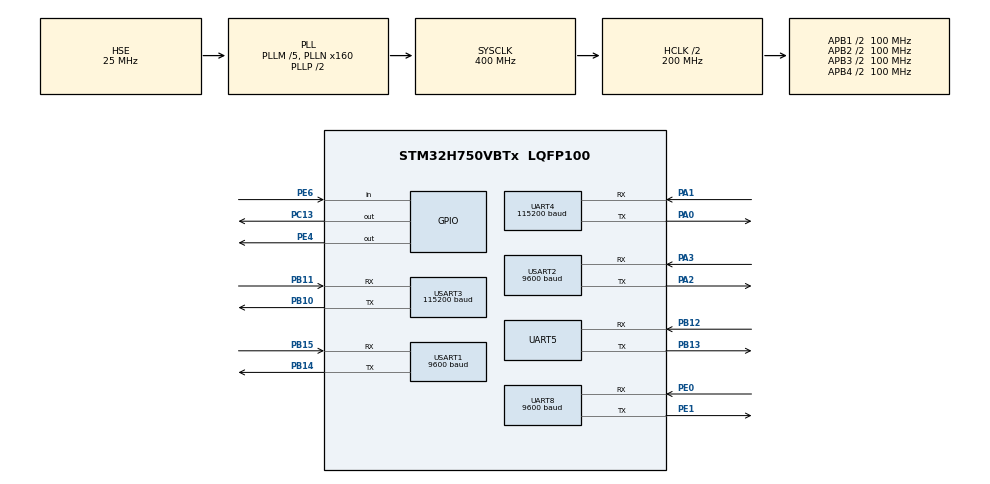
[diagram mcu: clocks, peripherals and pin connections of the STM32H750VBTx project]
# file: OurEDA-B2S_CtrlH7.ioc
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CORTEX_M7.CPU_ICache=Disabled
Dma.Request0=USART1_RX
Dma.Request1=USART1_TX
Dma.Request2=USART2_RX
Dma.Request3=UART4_RX
Dma.Request4=UART8_RX
Dma.Request5=UART8_TX
Dma.Request6=USART2_TX
Dma.Request7=USART3_RX
Dma.Request8=UART5_RX
Dma.Request9=UART5_TX
Dma.UART4_RX.3.Direction=DMA_PERIPH_TO_MEMORY
Dma.UART4_RX.3.EventEnable=DISABLE
Dma.UART4_RX.3.FIFOMode=DMA_FIFOMODE_DISABLE
Dma.UART4_RX.3.Instance=DMA1_Stream5
Dma.UART4_RX.3.MemDataAlignment=DMA_MDATAALIGN_BYTE
Dma.UART4_RX.3.MemInc=DMA_MINC_ENABLE
Dma.UART4_RX.3.Mode=DMA_NORMAL
Dma.UART4_RX.3.PeriphDataAlignment=DMA_PDATAALIGN_BYTE
Dma.UART4_RX.3.PeriphInc=DMA_PINC_DISABLE
Dma.UART4_RX.3.Polarity=HAL_DMAMUX_REQ_GEN_RISING
Dma.UART4_RX.3.Priority=DMA_PRIORITY_LOW
Dma.UART4_RX.3.RequestNumber=1
Dma.UART4_RX.3.SignalID=NONE
Dma.UART4_RX.3.SyncEnable=DISABLE
Dma.UART4_RX.3.SyncPolarity=HAL_DMAMUX_SYNC_NO_EVENT
Dma.UART4_RX.3.SyncRequestNumber=1
Dma.UART4_RX.3.SyncSignalID=NONE
Dma.UART5_RX.8.Direction=DMA_PERIPH_TO_MEMORY
Dma.UART5_RX.8.EventEnable=DISABLE
Dma.UART5_RX.8.FIFOMode=DMA_FIFOMODE_DISABLE
Dma.UART5_RX.8.Instance=DMA1_Stream4
Dma.UART5_RX.8.MemDataAlignment=DMA_MDATAALIGN_BYTE
Dma.UART5_RX.8.MemInc=DMA_MINC_ENABLE
Dma.UART5_RX.8.Mode=DMA_NORMAL
Dma.UART5_RX.8.PeriphDataAlignment=DMA_PDATAALIGN_BYTE
Dma.UART5_RX.8.PeriphInc=DMA_PINC_DISABLE
Dma.UART5_RX.8.Polarity=HAL_DMAMUX_REQ_GEN_RISING
Dma.UART5_RX.8.Priority=DMA_PRIORITY_LOW
Dma.UART5_RX.8.RequestNumber=1
Dma.UART5_RX.8.SignalID=NONE
Dma.UART5_RX.8.SyncEnable=DISABLE
Dma.UART5_RX.8.SyncPolarity=HAL_DMAMUX_SYNC_NO_EVENT
Dma.UART5_RX.8.SyncRequestNumber=1
Dma.UART5_RX.8.SyncSignalID=NONE
Dma.UART5_TX.9.Direction=DMA_MEMORY_TO_PERIPH
Dma.UART5_TX.9.EventEnable=DISABLE
Dma.UART5_TX.9.FIFOMode=DMA_FIFOMODE_DISABLE
Dma.UART5_TX.9.Instance=DMA2_Stream2
Dma.UART5_TX.9.MemDataAlignment=DMA_MDATAALIGN_BYTE
Dma.UART5_TX.9.MemInc=DMA_MINC_ENABLE
Dma.UART5_TX.9.Mode=DMA_NORMAL
Dma.UART5_TX.9.PeriphDataAlignment=DMA_PDATAALIGN_BYTE
Dma.UART5_TX.9.PeriphInc=DMA_PINC_DISABLE
Dma.UART5_TX.9.Polarity=HAL_DMAMUX_REQ_GEN_RISING
Dma.UART5_TX.9.Priority=DMA_PRIORITY_LOW
Dma.UART5_TX.9.RequestNumber=1
Dma.UART5_TX.9.SignalID=NONE
Dma.UART5_TX.9.SyncEnable=DISABLE
Dma.UART5_TX.9.SyncPolarity=HAL_DMAMUX_SYNC_NO_EVENT
Dma.UART5_TX.9.SyncRequestNumber=1
Dma.UART5_TX.9.SyncSignalID=NONE
Dma.UART8_RX.4.Direction=DMA_PERIPH_TO_MEMORY
Dma.UART8_RX.4.EventEnable=DISABLE
Dma.UART8_RX.4.FIFOMode=DMA_FIFOMODE_DISABLE
Dma.UART8_RX.4.Instance=DMA1_Stream7
Dma.UART8_RX.4.MemDataAlignment=DMA_MDATAALIGN_BYTE
Dma.UART8_RX.4.MemInc=DMA_MINC_ENABLE
Dma.UART8_RX.4.Mode=DMA_NORMAL
Dma.UART8_RX.4.PeriphDataAlignment=DMA_PDATAALIGN_BYTE
Dma.UART8_RX.4.PeriphInc=DMA_PINC_DISABLE
Dma.UART8_RX.4.Polarity=HAL_DMAMUX_REQ_GEN_RISING
Dma.UART8_RX.4.Priority=DMA_PRIORITY_LOW
Dma.UART8_RX.4.RequestNumber=1
Dma.UART8_RX.4.SignalID=NONE
Dma.UART8_RX.4.SyncEnable=DISABLE
Dma.UART8_RX.4.SyncPolarity=HAL_DMAMUX_SYNC_NO_EVENT
Dma.UART8_RX.4.SyncRequestNumber=1
Dma.UART8_RX.4.SyncSignalID=NONE
Dma.UART8_TX.5.Direction=DMA_MEMORY_TO_PERIPH
Dma.UART8_TX.5.EventEnable=DISABLE
Dma.UART8_TX.5.FIFOMode=DMA_FIFOMODE_DISABLE
Dma.UART8_TX.5.Instance=DMA2_Stream0
Dma.UART8_TX.5.MemDataAlignment=DMA_MDATAALIGN_BYTE
Dma.UART8_TX.5.MemInc=DMA_MINC_ENABLE
Dma.UART8_TX.5.Mode=DMA_NORMAL
Dma.UART8_TX.5.PeriphDataAlignment=DMA_PDATAALIGN_BYTE
Dma.UART8_TX.5.PeriphInc=DMA_PINC_DISABLE
Dma.UART8_TX.5.Polarity=HAL_DMAMUX_REQ_GEN_RISING
Dma.UART8_TX.5.Priority=DMA_PRIORITY_LOW
Dma.UART8_TX.5.RequestNumber=1
Dma.UART8_TX.5.SignalID=NONE
Dma.UART8_TX.5.SyncEnable=DISABLE
Dma.UART8_TX.5.SyncPolarity=HAL_DMAMUX_SYNC_NO_EVENT
Dma.UART8_TX.5.SyncRequestNumber=1
Dma.UART8_TX.5.SyncSignalID=NONE
Dma.USART1_RX.0.Direction=DMA_PERIPH_TO_MEMORY
Dma.USART1_RX.0.EventEnable=DISABLE
Dma.USART1_RX.0.FIFOMode=DMA_FIFOMODE_DISABLE
Dma.USART1_RX.0.Instance=DMA1_Stream0
Dma.USART1_RX.0.MemDataAlignment=DMA_MDATAALIGN_BYTE
Dma.USART1_RX.0.MemInc=DMA_MINC_ENABLE
Dma.USART1_RX.0.Mode=DMA_NORMAL
Dma.USART1_RX.0.PeriphDataAlignment=DMA_PDATAALIGN_BYTE
Dma.USART1_RX.0.PeriphInc=DMA_PINC_DISABLE
Dma.USART1_RX.0.Polarity=HAL_DMAMUX_REQ_GEN_RISING
Dma.USART1_RX.0.Priority=DMA_PRIORITY_LOW
Dma.USART1_RX.0.RequestNumber=1
Dma.USART1_RX.0.SignalID=NONE
Dma.USART1_RX.0.SyncEnable=DISABLE
Dma.USART1_RX.0.SyncPolarity=HAL_DMAMUX_SYNC_NO_EVENT
Dma.USART1_RX.0.SyncRequestNumber=1
Dma.USART1_RX.0.SyncSignalID=NONE
Dma.USART1_TX.1.Direction=DMA_MEMORY_TO_PERIPH
Dma.USART1_TX.1.EventEnable=DISABLE
Dma.USART1_TX.1.FIFOMode=DMA_FIFOMODE_DISABLE
Dma.USART1_TX.1.Instance=DMA1_Stream1
Dma.USART1_TX.1.MemDataAlignment=DMA_MDATAALIGN_BYTE
Dma.USART1_TX.1.MemInc=DMA_MINC_ENABLE
Dma.USART1_TX.1.Mode=DMA_NORMAL
Dma.USART1_TX.1.PeriphDataAlignment=DMA_PDATAALIGN_BYTE
Dma.USART1_TX.1.PeriphInc=DMA_PINC_DISABLE
Dma.USART1_TX.1.Polarity=HAL_DMAMUX_REQ_GEN_RISING
Dma.USART1_TX.1.Priority=DMA_PRIORITY_LOW
Dma.USART1_TX.1.RequestNumber=1
Dma.USART1_TX.1.SignalID=NONE
Dma.USART1_TX.1.SyncEnable=DISABLE
Dma.USART1_TX.1.SyncPolarity=HAL_DMAMUX_SYNC_NO_EVENT
Dma.USART1_TX.1.SyncRequestNumber=1
Dma.USART1_TX.1.SyncSignalID=NONE
Dma.USART2_RX.2.Direction=DMA_PERIPH_TO_MEMORY
Dma.USART2_RX.2.EventEnable=DISABLE
Dma.USART2_RX.2.FIFOMode=DMA_FIFOMODE_DISABLE
Dma.USART2_RX.2.Instance=DMA1_Stream2
Dma.USART2_RX.2.MemDataAlignment=DMA_MDATAALIGN_BYTE
Dma.USART2_RX.2.MemInc=DMA_MINC_ENABLE
Dma.USART2_RX.2.Mode=DMA_NORMAL
Dma.USART2_RX.2.PeriphDataAlignment=DMA_PDATAALIGN_BYTE
Dma.USART2_RX.2.PeriphInc=DMA_PINC_DISABLE
Dma.USART2_RX.2.Polarity=HAL_DMAMUX_REQ_GEN_RISING
Dma.USART2_RX.2.Priority=DMA_PRIORITY_LOW
Dma.USART2_RX.2.RequestNumber=1
Dma.USART2_RX.2.SignalID=NONE
Dma.USART2_RX.2.SyncEnable=DISABLE
Dma.USART2_RX.2.SyncPolarity=HAL_DMAMUX_SYNC_NO_EVENT
Dma.USART2_RX.2.SyncRequestNumber=1
Dma.USART2_RX.2.SyncSignalID=NONE
Dma.USART2_TX.6.Direction=DMA_MEMORY_TO_PERIPH
Dma.USART2_TX.6.EventEnable=DISABLE
Dma.USART2_TX.6.FIFOMode=DMA_FIFOMODE_DISABLE
Dma.USART2_TX.6.Instance=DMA2_Stream1
Dma.USART2_TX.6.MemDataAlignment=DMA_MDATAALIGN_BYTE
Dma.USART2_TX.6.MemInc=DMA_MINC_ENABLE
Dma.USART2_TX.6.Mode=DMA_NORMAL
Dma.USART2_TX.6.PeriphDataAlignment=DMA_PDATAALIGN_BYTE
Dma.USART2_TX.6.PeriphInc=DMA_PINC_DISABLE
Dma.USART2_TX.6.Polarity=HAL_DMAMUX_REQ_GEN_RISING
Dma.USART2_TX.6.Priority=DMA_PRIORITY_LOW
Dma.USART2_TX.6.RequestNumber=1
Dma.USART2_TX.6.SignalID=NONE
Dma.USART2_TX.6.SyncEnable=DISABLE
Dma.USART2_TX.6.SyncPolarity=HAL_DMAMUX_SYNC_NO_EVENT
Dma.USART2_TX.6.SyncRequestNumber=1
Dma.USART2_TX.6.SyncSignalID=NONE
Dma.USART3_RX.7.Direction=DMA_PERIPH_TO_MEMORY
Dma.USART3_RX.7.EventEnable=DISABLE
Dma.USART3_RX.7.FIFOMode=DMA_FIFOMODE_DISABLE
Dma.USART3_RX.7.Instance=DMA1_Stream3
Dma.USART3_RX.7.MemDataAlignment=DMA_MDATAALIGN_BYTE
Dma.USART3_RX.7.MemInc=DMA_MINC_ENABLE
Dma.USART3_RX.7.Mode=DMA_NORMAL
Dma.USART3_RX.7.PeriphDataAlignment=DMA_PDATAALIGN_BYTE
Dma.USART3_RX.7.PeriphInc=DMA_PINC_DISABLE
Dma.USART3_RX.7.Polarity=HAL_DMAMUX_REQ_GEN_RISING
Dma.USART3_RX.7.Priority=DMA_PRIORITY_LOW
Dma.USART3_RX.7.RequestNumber=1
Dma.USART3_RX.7.SignalID=NONE
Dma.USART3_RX.7.SyncEnable=DISABLE
Dma.USART3_RX.7.SyncPolarity=HAL_DMAMUX_SYNC_NO_EVENT
Dma.USART3_RX.7.SyncRequestNumber=1
Dma.USART3_RX.7.SyncSignalID=NONE
FREERTOS.BinarySemaphores01=WT931_DONE_sem,Static,WT931_DONE_semControlBlock;GY39_DONE_sem,Static,GY39_DONE_semControlBlock;WD_DONE_sem,Static,WD_DONE_semControlBlock;P30_DONE_sem,Static,P30_DONE_semControlBlock;CMD_DONE_sem,Static,CMD_DONE_semControlBlock;RPT_DONE_sem,Static,RPT_DONE_semControlBlock
FREERTOS.Queues01=GY39_Queue,2,CarbinData_t,0,Static,GY39_QueueBuffer,GY39_QueueControlBlock;WT931_Queue,2,IMUData_t,0,Static,WT931_QueueBuffer,WT931_QueueControlBlock;WD_Queue,2,DeepData_t,0,Static,WD_QueueBuffer,WD_QueueControlBlock;P30_Queue,2,SonarData_t,0,Static,P30_QueueBuffer,P30_QueueControlBlock
FREERTOS.Tasks01=Thread_Idle,-2,512,Thread_IdleEntry,Default,NULL,Static,Thread_IdleBuffer,Thread_IdleControlBlock;Thread_GY39,-1,512,Thread_GY39Entry,Default,NULL,Static,Thread_GY39Buffer,Thread_GY39ControlBlock;Thread_WT931,-1,512,Thread_WT931Entry,Default,NULL,Static,Thread_WT931Buffer,Thread_WT931ControlBlock;Thread_WD,-1,512,Thread_WDEntry,Default,NULL,Static,Thread_WDBuffer,Thread_WDControlBlock;Thread_P30,-1,512,Thread_P30Entry,Default,NULL,Static,Thread_P30Buffer,Thread_P30ControlBlock;Thread_Control,0,512,Thread_ControlEntry,Default,NULL,Static,Thread_ControlBuffer,Thread_ControlControlBlock;Thread_Report,0,512,Thread_ReportEntry,Default,NULL,Static,Thread_ReportBuffer,Thread_ReportControlBlock
FREERTOS.configENABLE_FPU=1
Mcu.Family=STM32H7
Mcu.Name=STM32H750VBTx
Mcu.Package=LQFP100
NVIC.DMA1_Stream0_IRQn=true\:5\:0\:false\:false\:true\:true\:false\:true
NVIC.DMA1_Stream1_IRQn=true\:5\:0\:false\:false\:true\:true\:false\:true
NVIC.DMA1_Stream2_IRQn=true\:5\:0\:false\:false\:true\:true\:false\:true
NVIC.DMA1_Stream3_IRQn=true\:5\:0\:false\:false\:true\:true\:false\:true
NVIC.DMA1_Stream4_IRQn=true\:5\:0\:false\:false\:true\:true\:false\:true
NVIC.DMA1_Stream5_IRQn=true\:5\:0\:false\:false\:true\:true\:false\:true
NVIC.DMA1_Stream7_IRQn=true\:5\:0\:false\:false\:true\:true\:false\:true
NVIC.DMA2_Stream0_IRQn=true\:5\:0\:false\:false\:true\:true\:false\:true
NVIC.DMA2_Stream1_IRQn=true\:5\:0\:false\:false\:true\:true\:false\:true
NVIC.DMA2_Stream2_IRQn=true\:5\:0\:false\:false\:true\:true\:false\:true
NVIC.PriorityGroup=NVIC_PRIORITYGROUP_4
NVIC.TIM6_DAC_IRQn=true\:0\:0\:false\:false\:true\:false\:false\:true
NVIC.TimeBase=TIM6_DAC_IRQn
NVIC.TimeBaseIP=TIM6
NVIC.UART4_IRQn=true\:5\:0\:false\:false\:true\:true\:true\:true
NVIC.UART5_IRQn=true\:5\:0\:false\:false\:true\:true\:true\:true
NVIC.UART8_IRQn=true\:5\:0\:false\:false\:true\:true\:true\:true
NVIC.USART1_IRQn=true\:5\:0\:false\:false\:true\:true\:true\:true
NVIC.USART2_IRQn=true\:5\:0\:false\:false\:true\:true\:true\:true
NVIC.USART3_IRQn=true\:5\:0\:false\:false\:true\:true\:true\:true
PA0.Mode=Asynchronous
PA0.Signal=UART4_TX
PA1.Mode=Asynchronous
PA1.Signal=UART4_RX
PA13\ (JTMS/SWDIO).Mode=Serial_Wire
PA13\ (JTMS/SWDIO).Signal=DEBUG_JTMS-SWDIO
PA14\ (JTCK/SWCLK).Mode=Serial_Wire
PA14\ (JTCK/SWCLK).Signal=DEBUG_JTCK-SWCLK
PA2.Mode=Asynchronous
PA2.Signal=USART2_TX
PA3.Mode=Asynchronous
PA3.Signal=USART2_RX
PA8.GPIO_Speed=GPIO_SPEED_FREQ_HIGH
PA8.Signal=S_TIM1_CH1
PB10.Mode=Asynchronous
PB10.Signal=USART3_TX
PB11.Mode=Asynchronous
PB11.Signal=USART3_RX
PB12.Mode=Asynchronous
PB12.Signal=UART5_RX
PB13.Mode=Asynchronous
PB13.Signal=UART5_TX
PB14.Mode=Asynchronous
PB14.Signal=USART1_TX
PB15.Mode=Asynchronous
PB15.Signal=USART1_RX
PC13.GPIO_ModeDefaultOutputPP=GPIO_MODE_OUTPUT_PP
PC13.GPIO_PuPd=GPIO_PULLUP
PC13.GPIO_Speed=GPIO_SPEED_FREQ_LOW
PC13.PinState=GPIO_PIN_RESET
PC13.Signal=GPIO_Output
PC14-OSC32_IN\ (OSC32_IN).Mode=LSE-External-Oscillator
PC14-OSC32_IN\ (OSC32_IN).Signal=RCC_OSC32_IN
PC15-OSC32_OUT\ (OSC32_OUT).Mode=LSE-External-Oscillator
PC15-OSC32_OUT\ (OSC32_OUT).Signal=RCC_OSC32_OUT
PE0.Mode=Asynchronous
PE0.Signal=UART8_RX
PE1.Mode=Asynchronous
PE1.Signal=UART8_TX
PE4.Signal=GPIO_Output
PE6.Signal=GPIO_Input
PH0-OSC_IN\ (PH0).Mode=HSE-External-Oscillator
PH0-OSC_IN\ (PH0).Signal=RCC_OSC_IN
PH1-OSC_OUT\ (PH1).Mode=HSE-External-Oscillator
PH1-OSC_OUT\ (PH1).Signal=RCC_OSC_OUT
ProjectManager.HeapSize=0x200
ProjectManager.StackSize=0x400
ProjectManager.TargetToolchain=STM32CubeIDE
RCC.ADCFreq_Value=50390625
RCC.APB1Freq_Value=100000000
RCC.APB2Freq_Value=100000000
RCC.APB3Freq_Value=100000000
RCC.APB4Freq_Value=100000000
RCC.CortexFreq_Value=400000000
RCC.D1PPRE=RCC_APB3_DIV2
RCC.D2PPRE1=RCC_APB1_DIV2
RCC.D2PPRE2=RCC_APB2_DIV2
RCC.D3PPRE=RCC_APB4_DIV2
RCC.DIVM1=5
RCC.DIVM3=25
RCC.DIVN1=160
RCC.DIVN3=192
RCC.HCLKFreq_Value=200000000
RCC.HPRE=RCC_HCLK_DIV2
RCC.PLL2FRACN=0
RCC.PLL3FRACN=0
RCC.PLLFRACN=0
RCC.PLLSourceVirtual=RCC_PLLSOURCE_HSE
RCC.SYSCLKFreq_VALUE=400000000
RCC.SYSCLKSource=RCC_SYSCLKSOURCE_PLLCLK
RCC.USART16CLockSelection=RCC_USART16CLKSOURCE_PLL3
RCC.USART234578CLockSelection=RCC_USART234578CLKSOURCE_PLL3
RCC.USBFreq_Value=400000000
SH.S_TIM1_CH1.0=TIM1_CH1
UART4.BaudRate=115200
UART8.BaudRate=9600
USART1.BaudRate=9600
USART1.VirtualMode-Asynchronous=VM_ASYNC
USART2.BaudRate=9600
USART2.VirtualMode-Asynchronous=VM_ASYNC
USART3.BaudRate=115200
USART3.VirtualMode-Asynchronous=VM_ASYNC
VP_FREERTOS_VS_CMSIS_V1.Mode=CMSIS_V1
VP_SYS_VS_tim6.Mode=TIM6
board=custom

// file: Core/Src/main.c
/* USER CODE BEGIN Header */
/**
  ******************************************************************************
  * @file           : main.c
  * @brief          : Main program body
  ******************************************************************************
  * @attention
  *
  * Copyright (c) 2022 STMicroelectronics.
  * All rights reserved.
  *
  * This software is licensed under terms that can be found in the LICENSE file
  * in the root directory of this software component.
  * If no LICENSE file comes with this software, it is provided AS-IS.
  *
  ******************************************************************************
  */
/* USER CODE END Header */
#include "main.h"
#include "cmsis_os.h"
#include "dma.h"
#include "usart.h"
#include "gpio.h"

void SystemClock_Config(void);
void PeriphCommonClock_Config(void);
void MX_FREERTOS_Init(void);

int main(void)
{

  /* MCU Configuration--------------------------------------------------------*/

  /* Reset of all peripherals, Initializes the Flash interface and the Systick. */
  HAL_Init();

  /* Configure the system clock */
  SystemClock_Config();

/* Configure the peripherals common clocks */
  PeriphCommonClock_Config();

  /* Initialize all configured peripherals */
  MX_GPIO_Init();
  MX_DMA_Init();
  MX_USART1_UART_Init();
  MX_USART2_UART_Init();
  MX_USART3_UART_Init();
  MX_UART4_Init();
  MX_UART8_Init();
  MX_UART5_Init();
  /* USER CODE BEGIN 2 */

  HAL_GPIO_WritePin(LED_GPIO_Port, LED_Pin, GPIO_PIN_RESET);

  /* USER CODE END 2 */

  /* Call init function for freertos objects (in freertos.c) */
  MX_FREERTOS_Init();
  /* Start scheduler */
  osKernelStart();

  /* We should never get here as control is now taken by the scheduler */
  /* Infinite loop */
  while (1)
  {

  }
}

void SystemClock_Config(void)
{
  RCC_OscInitTypeDef RCC_OscInitStruct = {0};
  RCC_ClkInitTypeDef RCC_ClkInitStruct = {0};

  /** Supply configuration update enable
  */
  HAL_PWREx_ConfigSupply(PWR_LDO_SUPPLY);
  /** Configure the main internal regulator output voltage
  */
  __HAL_PWR_VOLTAGESCALING_CONFIG(PWR_REGULATOR_VOLTAGE_SCALE1);

  while(!__HAL_PWR_GET_FLAG(PWR_FLAG_VOSRDY)) {}
  /** Macro to configure the PLL clock source
  */
  __HAL_RCC_PLL_PLLSOURCE_CONFIG(RCC_PLLSOURCE_HSE);
  /** Initializes the RCC Oscillators according to the specified parameters
  * in the RCC_OscInitTypeDef structure.
  */
  RCC_OscInitStruct.OscillatorType = RCC_OSCILLATORTYPE_HSE;
  RCC_OscInitStruct.HSEState = RCC_HSE_ON;
  RCC_OscInitStruct.PLL.PLLState = RCC_PLL_ON;
  RCC_OscInitStruct.PLL.PLLSource = RCC_PLLSOURCE_HSE;
  RCC_OscInitStruct.PLL.PLLM = 5;
  RCC_OscInitStruct.PLL.PLLN = 160;
  RCC_OscInitStruct.PLL.PLLP = 2;
  RCC_OscInitStruct.PLL.PLLQ = 2;
  RCC_OscInitStruct.PLL.PLLR = 2;
  RCC_OscInitStruct.PLL.PLLRGE = RCC_PLL1VCIRANGE_2;
  RCC_OscInitStruct.PLL.PLLVCOSEL = RCC_PLL1VCOWIDE;
  RCC_OscInitStruct.PLL.PLLFRACN = 0;
  if (HAL_RCC_OscConfig(&RCC_OscInitStruct) != HAL_OK)
  {
    Error_Handler();
  }
  /** Initializes the CPU, AHB and APB buses clocks
  */
  RCC_ClkInitStruct.ClockType = RCC_CLOCKTYPE_HCLK|RCC_CLOCKTYPE_SYSCLK
                              |RCC_CLOCKTYPE_PCLK1|RCC_CLOCKTYPE_PCLK2
                              |RCC_CLOCKTYPE_D3PCLK1|RCC_CLOCKTYPE_D1PCLK1;
  RCC_ClkInitStruct.SYSCLKSource = RCC_SYSCLKSOURCE_PLLCLK;
  RCC_ClkInitStruct.SYSCLKDivider = RCC_SYSCLK_DIV1;
  RCC_ClkInitStruct.AHBCLKDivider = RCC_HCLK_DIV2;
  RCC_ClkInitStruct.APB3CLKDivider = RCC_APB3_DIV2;
  RCC_ClkInitStruct.APB1CLKDivider = RCC_APB1_DIV2;
  RCC_ClkInitStruct.APB2CLKDivider = RCC_APB2_DIV2;
  RCC_ClkInitStruct.APB4CLKDivider = RCC_APB4_DIV2;

  if (HAL_RCC_ClockConfig(&RCC_ClkInitStruct, FLASH_LATENCY_2) != HAL_OK)
  {
    Error_Handler();
  }
}

void PeriphCommonClock_Config(void)
{
  RCC_PeriphCLKInitTypeDef PeriphClkInitStruct = {0};

  /** Initializes the peripherals clock
  */
  PeriphClkInitStruct.PeriphClockSelection = RCC_PERIPHCLK_UART5|RCC_PERIPHCLK_UART8
                              |RCC_PERIPHCLK_USART1|RCC_PERIPHCLK_UART4
                              |RCC_PERIPHCLK_USART2|RCC_PERIPHCLK_USART3;
  PeriphClkInitStruct.PLL3.PLL3M = 25;
  PeriphClkInitStruct.PLL3.PLL3N = 192;
  PeriphClkInitStruct.PLL3.PLL3P = 2;
  PeriphClkInitStruct.PLL3.PLL3Q = 2;
  PeriphClkInitStruct.PLL3.PLL3R = 2;
  PeriphClkInitStruct.PLL3.PLL3RGE = RCC_PLL3VCIRANGE_0;
  PeriphClkInitStruct.PLL3.PLL3VCOSEL = RCC_PLL3VCOWIDE;
  PeriphClkInitStruct.PLL3.PLL3FRACN = 0;
  PeriphClkInitStruct.Usart234578ClockSelection = RCC_USART234578CLKSOURCE_PLL3;
  PeriphClkInitStruct.Usart16ClockSelection = RCC_USART16CLKSOURCE_PLL3;
  if (HAL_RCCEx_PeriphCLKConfig(&PeriphClkInitStruct) != HAL_OK)
  {
    Error_Handler();
  }
}

void HAL_TIM_PeriodElapsedCallback(TIM_HandleTypeDef *htim)
{
  if (htim->Instance == TIM6) {
    HAL_IncTick();
  }
}

void Error_Handler(void)
{
  __disable_irq();
  while (1)
  {
  }
}

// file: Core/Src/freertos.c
/* USER CODE BEGIN Header */
/**
 ******************************************************************************
 * File Name          : freertos.c
 * Description        : Code for freertos applications
 ******************************************************************************
 * @attention
 *
 * Copyright (c) 2022 STMicroelectronics.
 * All rights reserved.
 *
 * This software is licensed under terms that can be found in the LICENSE file
 * in the root directory of this software component.
 * If no LICENSE file comes with this software, it is provided AS-IS.
 *
 ******************************************************************************
 */
/* USER CODE END Header */

#include "FreeRTOS.h"
#include "task.h"
#include "main.h"
#include "cmsis_os.h"

/* USER CODE BEGIN Includes */
#include "BasicCtrl.h"
#include "Sensor.h"
#include "Algorithm.h"

#include "usart.h"
#include "gpio.h"
#include "dma.h"

#include <stdio.h>
#include <stdlib.h>
#include <string.h>
#include <math.h>

/* USER CODE END Includes */

/* USER CODE BEGIN Variables */

osThreadId Thread_CatchRptHandle;
uint32_t Thread_CatchRptBuffer[512];
osStaticThreadDef_t Thread_CatchRptControlBlock;

osThreadId Thread_CatchCmdHandle;
uint32_t Thread_CatchCmdBuffer[512];
osStaticThreadDef_t Thread_CatchCmdControlBlock;

osMessageQId Rpt_QueueHandle;
uint8_t Rpt_QueueBuffer[2 * sizeof(ReportData_t)];
osStaticMessageQDef_t Rpt_QueueControlBlock;

osMessageQId Cmd_QueueHandle;
uint8_t Cmd_QueueBuffer[2 * sizeof(ControlData_t)];
osStaticMessageQDef_t Cmd_QueueControlBlock;

/* USER CODE END Variables */
osThreadId Thread_IdleHandle;
uint32_t Thread_IdleBuffer[512];
osStaticThreadDef_t Thread_IdleControlBlock;
osThreadId Thread_GY39Handle;
uint32_t Thread_GY39Buffer[512];
osStaticThreadDef_t Thread_GY39ControlBlock;
osThreadId Thread_WT931Handle;
uint32_t Thread_WT931Buffer[512];
osStaticThreadDef_t Thread_WT931ControlBlock;
osThreadId Thread_WDHandle;
uint32_t Thread_WDBuffer[512];
osStaticThreadDef_t Thread_WDControlBlock;
osThreadId Thread_P30Handle;
uint32_t Thread_P30Buffer[512];
osStaticThreadDef_t Thread_P30ControlBlock;
osThreadId Thread_ControlHandle;
uint32_t Thread_ControlBuffer[512];
osStaticThreadDef_t Thread_ControlControlBlock;
osThreadId Thread_ReportHandle;
uint32_t Thread_ReportBuffer[512];
osStaticThreadDef_t Thread_ReportControlBlock;
osMessageQId GY39_QueueHandle;
uint8_t GY39_QueueBuffer[2 * sizeof(CarbinData_t)];
osStaticMessageQDef_t GY39_QueueControlBlock;
osMessageQId WT931_QueueHandle;
uint8_t WT931_QueueBuffer[2 * sizeof(IMUData_t)];
osStaticMessageQDef_t WT931_QueueControlBlock;
osMessageQId WD_QueueHandle;
uint8_t WD_QueueBuffer[2 * sizeof(DepthData_t)];
osStaticMessageQDef_t WD_QueueControlBlock;
osMessageQId P30_QueueHandle;
uint8_t P30_QueueBuffer[2 * sizeof(SonarData_t)];
osStaticMessageQDef_t P30_QueueControlBlock;
osSemaphoreId WT931_DONE_semHandle;
osStaticSemaphoreDef_t WT931_DONE_semControlBlock;
osSemaphoreId GY39_DONE_semHandle;
osStaticSemaphoreDef_t GY39_DONE_semControlBlock;
osSemaphoreId WD_DONE_semHandle;
osStaticSemaphoreDef_t WD_DONE_semControlBlock;
osSemaphoreId P30_DONE_semHandle;
osStaticSemaphoreDef_t P30_DONE_semControlBlock;
osSemaphoreId CMD_DONE_semHandle;
osStaticSemaphoreDef_t CMD_DONE_semControlBlock;
osSemaphoreId RPT_DONE_semHandle;
osStaticSemaphoreDef_t RPT_DONE_semControlBlock;

/* USER CODE BEGIN FunctionPrototypes */

void Thread_CatchRptEntry(void const *argument);
void Thread_CatchCmdEntry(void const *argument);

static void OpenWrt_Delay(void)
{
	for (int i = 0; i < 60; i++)
	{
		HAL_GPIO_TogglePin(LED_GPIO_Port, LED_Pin);
		for (int j = 0; j < 1000; j++)
		{
			osDelay(1);
		}
	}
	HAL_GPIO_WritePin(LED_GPIO_Port, LED_Pin, GPIO_PIN_SET);
}

/* USER CODE END FunctionPrototypes */

void Thread_IdleEntry(void const *argument);
void Thread_GY39Entry(void const *argument);
void Thread_WT931Entry(void const *argument);
void Thread_WDEntry(void const *argument);
void Thread_P30Entry(void const *argument);
void Thread_ControlEntry(void const *argument);
void Thread_ReportEntry(void const *argument);

void MX_FREERTOS_Init(void); /* (MISRA C 2004 rule 8.1) */

/* GetIdleTaskMemory prototype (linked to static allocation support) */
void vApplicationGetIdleTaskMemory(StaticTask_t **ppxIdleTaskTCBBuffer,
		StackType_t **ppxIdleTaskStackBuffer, uint32_t *pulIdleTaskStackSize);

/* USER CODE BEGIN GET_IDLE_TASK_MEMORY */
static StaticTask_t xIdleTaskTCBBuffer;
static StackType_t xIdleStack[configMINIMAL_STACK_SIZE];

void vApplicationGetIdleTaskMemory(StaticTask_t **ppxIdleTaskTCBBuffer,
		StackType_t **ppxIdleTaskStackBuffer, uint32_t *pulIdleTaskStackSize)
{
	*ppxIdleTaskTCBBuffer = &xIdleTaskTCBBuffer;
	*ppxIdleTaskStackBuffer = &xIdleStack[0];
	*pulIdleTaskStackSize = configMINIMAL_STACK_SIZE;
	/* place for user code */
}
/* USER CODE END GET_IDLE_TASK_MEMORY */

void MX_FREERTOS_Init(void)
{

	/* Create the semaphores(s) */
	/* definition and creation of WT931_DONE_sem */
	osSemaphoreStaticDef(WT931_DONE_sem, &WT931_DONE_semControlBlock);
	WT931_DONE_semHandle = osSemaphoreCreate(osSemaphore(WT931_DONE_sem), 1);

	/* definition and creation of GY39_DONE_sem */
	osSemaphoreStaticDef(GY39_DONE_sem, &GY39_DONE_semControlBlock);
	GY39_DONE_semHandle = osSemaphoreCreate(osSemaphore(GY39_DONE_sem), 1);

	/* definition and creation of WD_DONE_sem */
	osSemaphoreStaticDef(WD_DONE_sem, &WD_DONE_semControlBlock);
	WD_DONE_semHandle = osSemaphoreCreate(osSemaphore(WD_DONE_sem), 1);

	/* definition and creation of P30_DONE_sem */
	osSemaphoreStaticDef(P30_DONE_sem, &P30_DONE_semControlBlock);
	P30_DONE_semHandle = osSemaphoreCreate(osSemaphore(P30_DONE_sem), 1);

	/* definition and creation of CMD_DONE_sem */
	osSemaphoreStaticDef(CMD_DONE_sem, &CMD_DONE_semControlBlock);
	CMD_DONE_semHandle = osSemaphoreCreate(osSemaphore(CMD_DONE_sem), 1);

	/* definition and creation of RPT_DONE_sem */
	osSemaphoreStaticDef(RPT_DONE_sem, &RPT_DONE_semControlBlock);
	RPT_DONE_semHandle = osSemaphoreCreate(osSemaphore(RPT_DONE_sem), 1);

	/* Create the queue(s) */
	/* definition and creation of GY39_Queue */
	osMessageQStaticDef(GY39_Queue, 2, CarbinData_t, GY39_QueueBuffer,
			&GY39_QueueControlBlock);
	GY39_QueueHandle = osMessageCreate(osMessageQ(GY39_Queue), NULL);

	/* definition and creation of WT931_Queue */
	osMessageQStaticDef(WT931_Queue, 2, IMUData_t, WT931_QueueBuffer,
			&WT931_QueueControlBlock);
	WT931_QueueHandle = osMessageCreate(osMessageQ(WT931_Queue), NULL);

	/* definition and creation of WD_Queue */
	osMessageQStaticDef(WD_Queue, 2, DepthData_t, WD_QueueBuffer,
			&WD_QueueControlBlock);
	WD_QueueHandle = osMessageCreate(osMessageQ(WD_Queue), NULL);

	/* definition and creation of P30_Queue */
	osMessageQStaticDef(P30_Queue, 2, SonarData_t, P30_QueueBuffer,
			&P30_QueueControlBlock);
	P30_QueueHandle = osMessageCreate(osMessageQ(P30_Queue), NULL);

	/* USER CODE BEGIN RTOS_QUEUES */
	/* add queues, ... */
	osMessageQStaticDef(Rpt_Queue, 2, ReportData_t, Rpt_QueueBuffer,
			&Rpt_QueueControlBlock);
	Rpt_QueueHandle = osMessageCreate(osMessageQ(Rpt_Queue), NULL);

	osMessageQStaticDef(Cmd_Queue, 2, ControlData_t, Cmd_QueueBuffer,
			&Cmd_QueueControlBlock);
	Cmd_QueueHandle = osMessageCreate(osMessageQ(Cmd_Queue), NULL);

	/* USER CODE END RTOS_QUEUES */

	/* Create the thread(s) */
	/* definition and creation of Thread_Idle */
	osThreadStaticDef(Thread_Idle, Thread_IdleEntry, osPriorityLow, 0, 512,
			Thread_IdleBuffer, &Thread_IdleControlBlock);
	Thread_IdleHandle = osThreadCreate(osThread(Thread_Idle), NULL);

	/* definition and creation of Thread_GY39 */
	osThreadStaticDef(Thread_GY39, Thread_GY39Entry, osPriorityBelowNormal, 0,
			512, Thread_GY39Buffer, &Thread_GY39ControlBlock);
	Thread_GY39Handle = osThreadCreate(osThread(Thread_GY39), NULL);

	/* definition and creation of Thread_WT931 */
	osThreadStaticDef(Thread_WT931, Thread_WT931Entry, osPriorityBelowNormal, 0,
			512, Thread_WT931Buffer, &Thread_WT931ControlBlock);
	Thread_WT931Handle = osThreadCreate(osThread(Thread_WT931), NULL);

	/* definition and creation of Thread_WD */
	osThreadStaticDef(Thread_WD, Thread_WDEntry, osPriorityBelowNormal, 0, 512,
			Thread_WDBuffer, &Thread_WDControlBlock);
	Thread_WDHandle = osThreadCreate(osThread(Thread_WD), NULL);

	/* definition and creation of Thread_P30 */
	osThreadStaticDef(Thread_P30, Thread_P30Entry, osPriorityBelowNormal, 0,
			512, Thread_P30Buffer, &Thread_P30ControlBlock);
	Thread_P30Handle = osThreadCreate(osThread(Thread_P30), NULL);

	/* definition and creation of Thread_Control */
	osThreadStaticDef(Thread_Control, Thread_ControlEntry, osPriorityNormal, 0,
			512, Thread_ControlBuffer, &Thread_ControlControlBlock);
	Thread_ControlHandle = osThreadCreate(osThread(Thread_Control), NULL);

	/* definition and creation of Thread_Report */
	osThreadStaticDef(Thread_Report, Thread_ReportEntry, osPriorityNormal, 0,
			512, Thread_ReportBuffer, &Thread_ReportControlBlock);
	Thread_ReportHandle = osThreadCreate(osThread(Thread_Report), NULL);

	/* USER CODE BEGIN RTOS_THREADS */
	/* add threads, ... */
	osThreadStaticDef(Thread_CatchRpt, Thread_CatchRptEntry,
			osPriorityBelowNormal, 0, 512, Thread_CatchRptBuffer,
			&Thread_CatchRptControlBlock);
	Thread_CatchRptHandle = osThreadCreate(osThread(Thread_CatchRpt), NULL);

	osThreadStaticDef(Thread_CatchCmd, Thread_CatchCmdEntry,
			osPriorityBelowNormal, 0, 512, Thread_CatchCmdBuffer,
			&Thread_CatchCmdControlBlock);
	Thread_CatchCmdHandle = osThreadCreate(osThread(Thread_CatchCmd), NULL);

	/* USER CODE END RTOS_THREADS */

}

void Thread_IdleEntry(void const *argument)
{
	/* USER CODE BEGIN Thread_IdleEntry */
	/* Infinite loop */
	for (;;)
	{
//		printf("test\r\n");
//		HAL_GPIO_TogglePin(LED_GPIO_Port, LED_Pin);
		osDelay(500);
	}
	/* USER CODE END Thread_IdleEntry */
}

void Thread_GY39Entry(void const *argument)
{
	/* USER CODE BEGIN Thread_GY39Entry */
	uint8_t GY39_TxBuffer[TEMPER_UART_TXLen] =
	{ 0 };
	uint8_t GY39_RxBuffer[TEMPER_UART_RXLen] =
	{ 0 };
	CarbinData_t gy39_data;

	InitGY39(GY39_TxBuffer);
	HAL_UART_Transmit_DMA(&TEMPER_UART, GY39_TxBuffer, sizeof(GY39_TxBuffer));

	__HAL_UART_ENABLE_IT(&TEMPER_UART, UART_IT_IDLE);
	HAL_UART_Receive_DMA(&TEMPER_UART, GY39_RxBuffer, sizeof(GY39_RxBuffer));

	/* Infinite loop */
	for (;;)
	{
		if (xSemaphoreTake(GY39_DONE_semHandle, 0) == pdTRUE)
		{
			gy39_data = ReceiveGY39(GY39_RxBuffer);

//			printf("t:%d, %d, %d\r\n", gy39_data.CarbinBarometric,
//					gy39_data.CarbinHumidity, gy39_data.CarbinTemperature);
			xQueueSendToFront(GY39_QueueHandle, (void* )&gy39_data, 0);

			memset(&GY39_RxBuffer, 0, sizeof(GY39_RxBuffer));
			__HAL_UART_ENABLE_IT(&TEMPER_UART, UART_IT_IDLE);
			HAL_UART_Receive_DMA(&TEMPER_UART, GY39_RxBuffer,
					sizeof(GY39_RxBuffer));
		}

		osDelay(100);
	}
	/* USER CODE END Thread_GY39Entry */
}

void Thread_WT931Entry(void const *argument)
{
	/* USER CODE BEGIN Thread_WT931Entry */
	uint8_t WT931_RxBuffer[AXIS_UART_RXLen] =
	{ 0 };
	IMUData_t wt931_data;

	__HAL_UART_ENABLE_IT(&AXIS_UART, UART_IT_IDLE);
	HAL_UART_Receive_DMA(&AXIS_UART, WT931_RxBuffer, sizeof(WT931_RxBuffer));

	/* Infinite loop */
	for (;;)
	{
		if (xSemaphoreTake(WT931_DONE_semHandle, 0) == pdTRUE)
		{
			wt931_data = ReceiveWT931(WT931_RxBuffer);

//			printf("wt931:%d,%d,%d\r\n", wt931_data.EulerAngle[0], wt931_data.EulerAngle[1], wt931_data.EulerAngle[2]);
			xQueueSendToFront(WT931_QueueHandle, (void* )&wt931_data, 0);

			memset(&WT931_RxBuffer, 0, sizeof(WT931_RxBuffer));
			__HAL_UART_ENABLE_IT(&AXIS_UART, UART_IT_IDLE);
			HAL_UART_Receive_DMA(&AXIS_UART, WT931_RxBuffer,
					sizeof(WT931_RxBuffer));
		}
		osDelay(10);

	}
	/* USER CODE END Thread_WT931Entry */
}

void Thread_WDEntry(void const *argument)
{
	/* USER CODE BEGIN Thread_WDEntry */
	uint8_t WD_RxBuffer[Deep_UART_RXLen] =
	{ 0 };
	DepthData_t wd_data;

	__HAL_UART_ENABLE_IT(&Deep_UART, UART_IT_IDLE);
	HAL_UART_Receive_DMA(&Deep_UART, WD_RxBuffer, sizeof(WD_RxBuffer));

	/* Infinite loop */
	for (;;)
	{
		if (xSemaphoreTake(WD_DONE_semHandle, 0) == pdTRUE)
		{
			wd_data = ReceiveDeep(WD_RxBuffer);

			xQueueSendToFront(WD_QueueHandle, (void* )&wd_data, 0);

			memset(&WD_RxBuffer, 0, sizeof(WD_RxBuffer));
			__HAL_UART_ENABLE_IT(&Deep_UART, UART_IT_IDLE);
			HAL_UART_Receive_DMA(&Deep_UART, WD_RxBuffer, sizeof(WD_RxBuffer));
		}
		osDelay(10);
	}
	/* USER CODE END Thread_WDEntry */
}

void Thread_P30Entry(void const *argument)
{
	/* USER CODE BEGIN Thread_P30Entry */
	uint8_t P30_TxBuffer[SONAR_HEIGHT_UART_TXLen] =
	{ 0 };
	uint8_t P30_RxBuffer[SONAR_HEIGHT_UART_RXLen] =
	{ 0 };
	SonarData_t p30_data;

	InitP30(P30_TxBuffer);
	HAL_UART_Transmit_DMA(&SONAR_HEIGHT_UART, P30_TxBuffer,
			sizeof(P30_TxBuffer));

	__HAL_UART_ENABLE_IT(&SONAR_HEIGHT_UART, UART_IT_IDLE);
	HAL_UART_Receive_DMA(&SONAR_HEIGHT_UART, P30_RxBuffer,
			sizeof(P30_RxBuffer));

	/* Infinite loop */
	for (;;)
	{
		if (xSemaphoreTake(P30_DONE_semHandle, 0) == pdTRUE)
		{
			p30_data = ReceiveP30(P30_RxBuffer);

			xQueueSendToFront(P30_QueueHandle, (void* )&p30_data, 0);

			memset(&P30_RxBuffer, 0, sizeof(P30_RxBuffer));
			__HAL_UART_ENABLE_IT(&SONAR_HEIGHT_UART, UART_IT_IDLE);
			HAL_UART_Receive_DMA(&SONAR_HEIGHT_UART, P30_RxBuffer,
					sizeof(P30_RxBuffer));
		}

		osDelay(10);
	}
	/* USER CODE END Thread_P30Entry */
}

void Thread_ControlEntry(void const *argument)
{
	/* USER CODE BEGIN Thread_ControlEntry */
	ControlData_t control_data_origin;

	static uint8_t Cmd_TxBuffer[Slave_UART_TXLEN] =
	{ 0 };

	OpenWrt_Delay();

	/* Infinite loop */
	for (;;)
	{
		if (xQueueReceive(Cmd_QueueHandle, &control_data_origin, 0) == pdTRUE)
		{
			ControlDataGenerate(control_data_origin, Cmd_TxBuffer);

			HAL_UART_Transmit_DMA(&Slave_UART, Cmd_TxBuffer,
					sizeof(Cmd_TxBuffer));
//			memset(&Cmd_TxBuffer, 0, sizeof(Cmd_TxBuffer));
		}

		osDelay(100);
	}
	/* USER CODE END Thread_ControlEntry */
}

void Thread_ReportEntry(void const *argument)
{
	/* USER CODE BEGIN Thread_ReportEntry */
	static uint8_t CARBIN_REPORT_SEL = 0;

	static IMUData_t wt931_data;
	static CarbinData_t gy39_data;
	static DepthData_t wd_data;
	static SonarData_t p30_data;
	static ReportData_t rpt_data_powcarbin;

//	static uint8_t Report_RxBuffer[Slave_UART_RXLen] =
//	{ 0 };

	uint8_t Report_TxBuffer[Master_UART_TXLen] =
	{ 0 };

	static ReportData_t report_data;
	report_data.FrameHead = 0x25;
	report_data.CabinFunction = 0x01;
	report_data.FrameEnd = 0xFFFF;
	report_data.IdTest = 0x00;

	OpenWrt_Delay();

	/* Infinite loop */
	for (;;)
	{
		xQueueReceive(GY39_QueueHandle, &gy39_data, 0);
		xQueueReceive(WT931_QueueHandle, &wt931_data, 0);
		xQueueReceive(WD_QueueHandle, &wd_data, 0);
		xQueueReceive(P30_QueueHandle, &p30_data, 0);
		xQueueReceive(Rpt_QueueHandle, &rpt_data_powcarbin, 0);

		report_data.WaterDetect = HAL_GPIO_ReadPin(WATER_DET_GPIO_Port,
		WATER_DET_Pin);

		report_data.CabinTemperature = gy39_data.CarbinTemperature;
		report_data.CabinBarometric = gy39_data.CarbinBarometric;
		report_data.CabinHumidity = gy39_data.CarbinHumidity;

		report_data.AccNum[0] = wt931_data.Acceleration[0];
		report_data.AccNum[1] = wt931_data.Acceleration[1];
		report_data.AccNum[2] = wt931_data.Acceleration[2];
		report_data.RotNum[0] = wt931_data.AngularSpeed[0];
		report_data.RotNum[1] = wt931_data.AngularSpeed[1];
		report_data.RotNum[2] = wt931_data.AngularSpeed[2];
		report_data.EulNum[0] = wt931_data.EulerAngle[0];
		report_data.EulNum[1] = wt931_data.EulerAngle[1];
		report_data.EulNum[2] = wt931_data.EulerAngle[2];
		report_data.MagNum[0] = wt931_data.MagneticValue[0];
		report_data.MagNum[1] = wt931_data.MagneticValue[1];
		report_data.MagNum[2] = wt931_data.MagneticValue[2];

		report_data.SonarHeight = p30_data.SonarHeight;
		report_data.SonarConfidence = p30_data.Confidence;

		report_data.WaterTemperature = wd_data.WaterTemperature;
		report_data.WaterDepth = wd_data.WaterDepth;

		//send data to tx_buffer
		if (CARBIN_REPORT_SEL == 0) //send control carbin
		{
			report_data.CabinFunction = 0x01;

			CaptureReportData(report_data, Report_TxBuffer);

			HAL_UART_Transmit_DMA(&Master_UART, Report_TxBuffer,
					sizeof(Report_TxBuffer));
			CARBIN_REPORT_SEL = 1;
		}
		else //send power carbin
		{
			CaptureReportData(rpt_data_powcarbin, Report_TxBuffer);

			HAL_UART_Transmit_DMA(&Master_UART, Report_TxBuffer,
					sizeof(Report_TxBuffer));
			CARBIN_REPORT_SEL = 0;
		}

//		printf("conc:%d,%d\r\n",report_data.EulNum[0],report_data.CabinTemperature);
//		CaptureReportData(report_data, Report_TxBuffer);
//		HAL_UART_Transmit_DMA(&Master_UART, Report_TxBuffer, sizeof(Report_TxBuffer));

		osDelay(100);
	}
	/* USER CODE END Thread_ReportEntry */
}

/* USER CODE BEGIN Application */
void Thread_CatchRptEntry(void const *argument)
{
	uint8_t Report_RxBuffer[2 * Slave_UART_RXLen] =
	{ 0 };
	ReportData_t rpt_data;

	__HAL_UART_ENABLE_IT(&Slave_UART, UART_IT_IDLE);
	HAL_UART_Receive_DMA(&Slave_UART, Report_RxBuffer, sizeof(Report_RxBuffer));
	for (;;)
	{
		if (xSemaphoreTake(RPT_DONE_semHandle, 0) == pdTRUE)
		{
			rpt_data = ReportDataAnalysis(Report_RxBuffer);

			xQueueSendToFront(Rpt_QueueHandle, (void* )&rpt_data, 0);

			memset(&Report_RxBuffer, 0, sizeof(Report_RxBuffer));
			__HAL_UART_ENABLE_IT(&Slave_UART, UART_IT_IDLE);
			HAL_UART_Receive_DMA(&Slave_UART, Report_RxBuffer,
					sizeof(Report_RxBuffer));
		}
		osDelay(1);
	}
}

void Thread_CatchCmdEntry(void const *argument)
{
	uint8_t Command_RxBuffer[2 * Master_UART_RXLen] =
	{ 0x25, 0x05, 0xDC, 0x05, 0xDC, 0x05, 0xDC, 0x00, 0x32, 0x05, 0xDC, 0x05,
			0xDC, 0x05, 0xDC, 0x05, 0xDC, 0x05, 0xDC, 0x05, 0xDC, 0x05, 0xDC,
			0x05, 0xDC, 0x05, 0xDC, 0x00, 0x00, 0x21, 0x25, 0x05, 0xDC, 0x05,
			0xDC, 0x05, 0xDC, 0x00, 0x32, 0x05, 0xDC, 0x05, 0xDC, 0x05, 0xDC,
			0x05, 0xDC, 0x05, 0xDC, 0x05, 0xDC, 0x05, 0xDC, 0x05, 0xDC, 0x05,
			0xDC, 0x00, 0x00, 0x21 };

	ControlData_t control_data;

	__HAL_UART_ENABLE_IT(&Master_UART, UART_IT_IDLE);
	HAL_UART_Receive_DMA(&Master_UART, Command_RxBuffer,
			sizeof(Command_RxBuffer));
	for (;;)
	{
		if (xSemaphoreTake(CMD_DONE_semHandle, 0) == pdTRUE)
		{
			control_data = CaptureControlData(Command_RxBuffer);

			xQueueSendToFront(Cmd_QueueHandle, (void* )&control_data, 0);

			memset(&Command_RxBuffer, 0, sizeof(Command_RxBuffer));
			__HAL_UART_ENABLE_IT(&Master_UART, UART_IT_IDLE);
			HAL_UART_Receive_DMA(&Master_UART, Command_RxBuffer,
					sizeof(Command_RxBuffer));
		}
		osDelay(1);
	}
}

/* USER CODE END Application */
